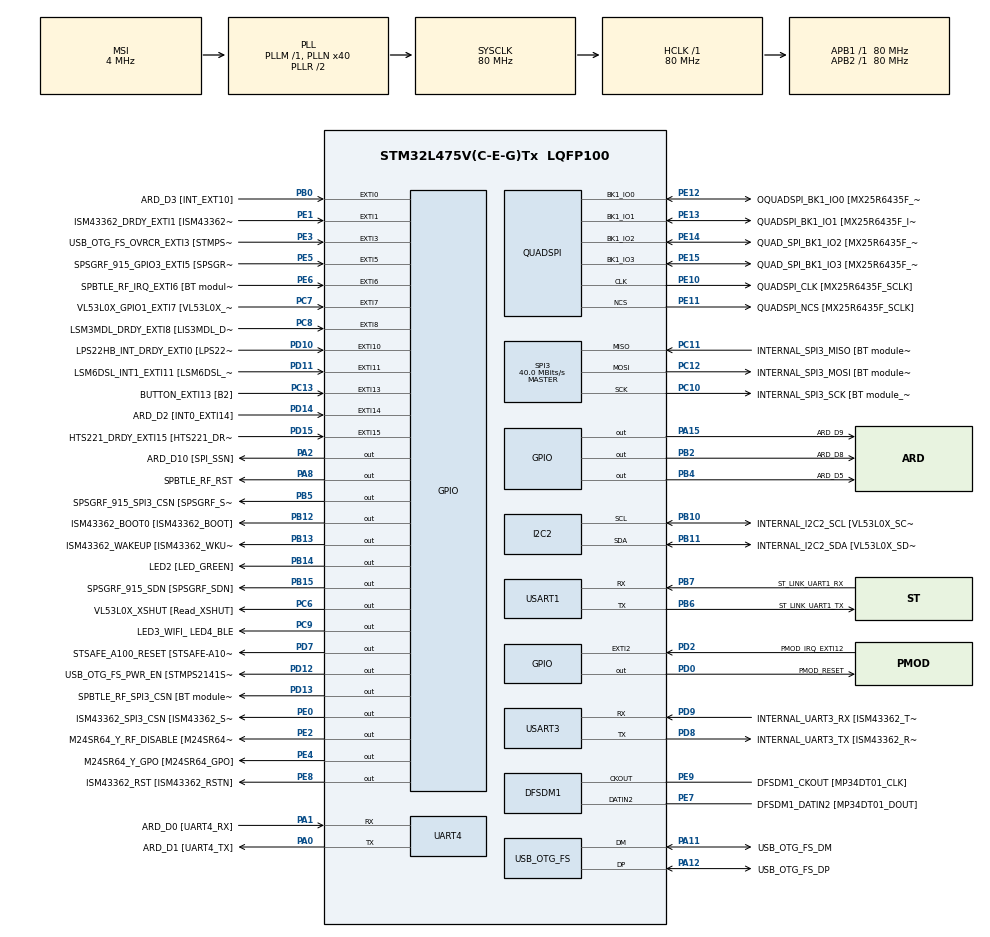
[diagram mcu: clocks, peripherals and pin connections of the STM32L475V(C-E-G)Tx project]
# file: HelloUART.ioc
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PD12.GPIO_Label=USB_OTG_FS_PWR_EN [STMPS2141STR_EN]
SPI3.Direction=SPI_DIRECTION_2LINES
SPI3.VirtualType=VM_MASTER
QUADSPI.ClockPrescaler=2
PB10.Mode=I2C
PC12.Signal=SPI3_MOSI
PB14.GPIO_Label=LED2 [LED_GREEN]
PC6.GPIO_Label=VL53L0X_XSHUT [Read_XSHUT]
PA6.GPIO_Label=ARD_D12 [SPI1_MISO]
PB6.GPIO_Label=ST_LINK_UART1_TX
PA15\ (JTDI).Signal=GPIO_Output
PC15-OSC32_OUT\ (PC15).Mode=LSE-External-Oscillator
PB13.Signal=GPIO_Output
PD6.GPIO_Label=PMOD_UART2_RX
PE6.GPIO_Label=SPBTLE_RF_IRQ_EXTI6 [BT module_SPI_IRQ]
RCC.SYSCLKSource=RCC_SYSCLKSOURCE_PLLCLK
PC14-OSC32_IN\ (PC14).Mode=LSE-External-Oscillator
SH.ADCx_IN16.0=ADC1_IN16
USART3.VirtualMode-Asynchronous=VM_ASYNC
PA14\ (JTCK-SWCLK).Signal=SYS_JTCK-SWCLK
PD4.Signal=USART2_RTS
RCC.APB2TimFreq_Value=80000000
PB6.Signal=USART1_TX
PC7.Signal=GPXTI7
PB6.Mode=Asynchronous
PC3.Signal=ADCx_IN4
PD0.Signal=GPIO_Output
PD8.Signal=USART3_TX
PE5.Signal=GPXTI5
PE1.Signal=GPXTI1
QUADSPI.FlashSize=23
NVIC.EXTI15_10_IRQn=true\:0\:0\:false\:false\:true\:true\:true
PB2.Signal=GPIO_Output
PD1.GPIO_Label=PMOD_SPI2_SCK
PB12.GPIO_Label=ISM43362_BOOT0 [ISM43362_BOOT]
PC4.GPIO_Label=ARD_A1 [ADC]
PE9.Signal=S_CKOUTDFSDM1
PB1.GPIO_Label=ARD_D6 [ADC1_IN6]
PE4.GPIO_Label=M24SR64_Y_GPO [M24SR64_GPO]
PA0.Mode=Asynchronous
PE2.Signal=GPIO_Output
PA8.Signal=GPIO_Output
PE13.Mode=Single Bank
PE10.Signal=QUADSPI_CLK
PA0.Signal=UART4_TX
Mcu.Package=LQFP100
PB9.Signal=I2C1_SDA
PB1.Signal=ADCx_IN16
SPI3.Mode=SPI_MODE_MASTER
SH.ADCx_IN14.0=ADC1_IN14
PD12.Signal=GPIO_Output
PA10.Signal=USB_OTG_FS_ID
PE12.GPIO_Label=OQUADSPI_BK1_IO0 [MX25R6435F_IO0]
PC11.Mode=Full_Duplex_Master
SH.ADCx_IN9.0=ADC1_IN9
RCC.APB1TimFreq_Value=80000000
PA13\ (JTMS-SWDIO).Signal=SYS_JTMS-SWDIO
PE10.GPIO_Label=QUADSPI_CLK [MX25R6435F_SCLK]
PA4.GPIO_Label=ARD_D7
PD15.Signal=GPXTI15
PE12.Mode=Single Bank
PD9.GPIO_Label=INTERNAL_UART3_RX [ISM43362_TX]
PA9.GPIO_Label=USB_OTG_FS_VBUS [STMPS2141STR_OUT]
PC13.Signal=GPXTI13
PD3.Signal=USART2_CTS
PC6.Signal=GPIO_Output
PE10.Mode=Single Bank
PC2.Signal=ADCx_IN3
PB11.GPIO_Label=INTERNAL_I2C2_SDA [VL53L0X_SDA]
PD7.Signal=GPIO_Output
PD1.Signal=SPI2_SCK
PA11.GPIO_Label=USB_OTG_FS_DM
PC0.Signal=ADCx_IN1
PD10.Signal=GPXTI10
PB8.GPIO_Label=ARD_D15 [I2C1_SCL]
PA8.GPIO_Label=SPBTLE_RF_RST
PB11.Mode=I2C
PE8.GPIO_Label=ISM43362_RST [ISM43362_RSTN]
PA9.Signal=USB_OTG_FS_VBUS
PE9.GPIO_Label=DFSDM1_CKOUT [MP34DT01_CLK]
PD8.Mode=Asynchronous
PB10.Signal=I2C2_SCL
PB14.Signal=GPIO_Output
PA5.Signal=SPI1_SCK
PC12.Mode=Full_Duplex_Master
PE1.GPIO_Label=ISM43362_DRDY_EXTI1 [ISM43362_DATARDY]
PA1.Mode=Asynchronous
PE14.Signal=QUADSPI_BK1_IO2
PE15.Signal=QUADSPI_BK1_IO3
PB15.GPIO_Label=SPSGRF_915_SDN [SPSGRF_SDN]
PE8.Signal=GPIO_Output
PA1.GPIO_Label=ARD_D0 [UART4_RX]
SH.ADCx_IN4.0=ADC1_IN4
QUADSPI.FifoThreshold=4
PC7.GPIO_Label=VL53L0X_GPIO1_EXTI7 [VL53L0X_GPIO1]
PA13\ (JTMS-SWDIO).Mode=Serial_Wire
PA4.Signal=ADCx_IN9
PB5.Signal=GPIO_Output
PE13.GPIO_Label=QUADSPI_BK1_IO1 [MX25R6435F_IO1]
PA5.GPIO_Label=ARD_D13 [SPI1_SCK]
PD11.Signal=GPXTI11
PE5.GPIO_Label=SPSGRF_915_GPIO3_EXTI5 [SPSGRF_GPIO_3]
PC12.GPIO_Label=INTERNAL_SPI3_MOSI [BT module_SPI_MOSI] [ISM43362_MOSI]
PA11.Signal=USB_OTG_FS_DM
ProjectManager.HeapSize=0x200
NVIC.PriorityGroup=NVIC_PRIORITYGROUP_4
PE3.Signal=GPXTI3
PC3.GPIO_Label=ARD_A2 [ADC]
PB4\ (NJTRST).GPIO_Label=ARD_D5
PD2.Signal=GPXTI2
PB0.Signal=GPXTI0
PC1.Signal=ADCx_IN2
PD2.GPIO_Label=PMOD_IRQ_EXTI12
PE15.Mode=Single Bank
Mcu.Family=STM32L4
RCC.CortexFreq_Value=80000000
PE11.GPIO_Label=QUADSPI_NCS [MX25R6435F_SCLK]
SH.ADCx_IN2.0=ADC1_IN2
PC10.Signal=SPI3_SCK
PA0.GPIO_Label=ARD_D1 [UART4_TX]
PC0.GPIO_Label=ARD_A5 [ADC]
PD0.GPIO_Label=PMOD_RESET
PA11.Mode=Device_Only
PB0.GPIO_Label=ARD_D3 [INT_EXT10]
PC13.GPIO_Label=BUTTON_EXTI13 [B2]
PB13.GPIO_Label=ISM43362_WAKEUP [ISM43362_WKUP]
PB11.Signal=I2C2_SDA
PB15.Signal=GPIO_Output
PD9.Mode=Asynchronous
ProjectManager.StackSize=0x400
PB3\ (JTDO-TRACESWO).Signal=SYS_JTDO-SWO
PD13.Signal=GPIO_Output
PA12.Signal=USB_OTG_FS_DP
PE11.Mode=Single Bank
PD11.GPIO_Label=LSM6DSL_INT1_EXTI11 [LSM6DSL_INT1]
RCC.HCLKFreq_Value=80000000
SH.ADCx_IN3.0=ADC1_IN3
PB5.PinState=GPIO_PIN_SET
RCC.AHBFreq_Value=80000000
RCC.HSE_VALUE=8000000
PE13.Signal=QUADSPI_BK1_IO1
PC11.GPIO_Label=INTERNAL_SPI3_MISO [BT module_SPI_MISO] [ISM43362_MISO]
PA10.GPIO_Label=USB_OTG_FS_ID
PB7.Signal=USART1_RX
PE4.Signal=GPIO_Output
QUADSPI.SampleShifting=QSPI_SAMPLE_SHIFTING_HALFCYCLE
PD7.GPIO_Label=STSAFE_A100_RESET [STSAFE-A100_RESET]
PB7.GPIO_Label=ST_LINK_UART1_RX
PD13.GPIO_Label=SPBTLE_RF_SPI3_CSN [BT module_SPI_CS]
PA6.Signal=SPI1_MISO
PD5.GPIO_Label=PMOD_UART2_TX
PA2.GPIO_Label=ARD_D10 [SPI_SSN]
USB_OTG_FS.VirtualMode=Device_Only
PE0.GPIO_Label=ISM43362_SPI3_CSN [ISM43362_SSN]
SH.ADCx_IN1.0=ADC1_IN1
PB5.GPIO_Label=SPSGRF_915_SPI3_CSN [SPSGRF_SPI_CS]
PC5.Signal=ADCx_IN14
PD3.GPIO_Label=PMOD_UART2_CTS
PE7.Signal=S_DATAIN2DFSDM1
PD6.Signal=USART2_RX
PE2.GPIO_Label=M24SR64_Y_RF_DISABLE [M24SR64_RFDIS]
PC2.GPIO_Label=ARD_A3 [ADC]
RCC.PLLSAI1N=24
PA3.Signal=S_TIM2_CH4
RCC.MSI_VALUE=4000000
PA14\ (JTCK-SWCLK).Mode=Serial_Wire
SH.ADCx_IN13.0=ADC1_IN13
PD15.GPIO_Label=HTS221_DRDY_EXTI15 [HTS221_DRDY]
PB9.GPIO_Label=ARD_D14 [I2C1_SDA]
PC10.GPIO_Label=INTERNAL_SPI3_SCK [BT module_SPI_SCLK] [ISM43362_SCK]
PC9.GPIO_Label=LED3_WIFI_ LED4_BLE
PC11.Signal=SPI3_MISO
PC8.Signal=GPXTI8
PC4.Signal=ADCx_IN13
PC10.Mode=Full_Duplex_Master
SH.S_DATAIN2DFSDM1.0=DFSDM1_DATIN2,PDM_SPI_Input_from_ch12_and_Internal_Clock
PE14.GPIO_Label=QUAD_SPI_BK1_IO2 [MX25R6435F_IO2]
PC15-OSC32_OUT\ (PC15).Signal=RCC_OSC32_OUT
PD9.Signal=USART3_RX
PD5.Signal=USART2_TX
PA14\ (JTCK-SWCLK).GPIO_Label=SYS_JTCK_SWCLK
PB3\ (JTDO-TRACESWO).GPIO_Label=SYS_JTD0_SWO
PA12.GPIO_Label=USB_OTG_FS_DP
PD8.GPIO_Label=INTERNAL_UART3_TX [ISM43362_RX]
PC8.GPIO_Label=LSM3MDL_DRDY_EXTI8 [LIS3MDL_DRDY]
USART1.VirtualMode-Asynchronous=VM_ASYNC
PE0.PinState=GPIO_PIN_SET
PE15.GPIO_Label=QUAD_SPI_BK1_IO3 [MX25R6435F_IO3]
ProjectManager.TargetToolchain=STM32CubeIDE
PB10.GPIO_Label=INTERNAL_I2C2_SCL [VL53L0X_SCL]
RCC.USBFreq_Value=48000000
PD10.GPIO_Label=LPS22HB_INT_DRDY_EXTI0 [LPS22HB_INT_DRDY] 
PE11.Signal=QUADSPI_NCS
PA1.Signal=UART4_RX
board=B-L475E-IOT01A1
RCC.VCOOutputFreq_Value=160000000
RCC.APB2Freq_Value=80000000
SPI3.CalculateBaudRate=40.0 MBits/s
PA13\ (JTMS-SWDIO).GPIO_Label=SYS_JTMS_SWDIO
PD4.GPIO_Label=PMOD_UART2_RTS
PE14.Mode=Single Bank
SH.S_CKOUTDFSDM1.0=DFSDM1_CKOUT,CKOUT
SH.S_CKOUTDFSDM1.1=DFSDM1_CKOUT,PDM_SPI_Input_from_ch12_and_Internal_Clock
RCC.ADCFreq_Value=48000000
PC1.GPIO_Label=ARD_A4 [ADC]
PD14.GPIO_Label=ARD_D2 [INT0_EXTI14]
PE6.Signal=GPXTI6
PA15\ (JTDI).GPIO_Label=ARD_D9
Mcu.Name=STM32L475V(C-E-G)Tx
PE0.Signal=GPIO_Output
PE7.GPIO_Label=DFSDM1_DATIN2 [MP34DT01_DOUT]
PE12.Signal=QUADSPI_BK1_IO0
PA2.Signal=GPIO_Output
PD14.Signal=GPXTI14
RCC.SYSCLKFreq_VALUE=80000000
PA7.GPIO_Label=ARD_D11 [SPI1_MOSI]
PA12.Mode=Device_Only
PC13.GPIO_ModeDefaultEXTI=GPIO_MODE_IT_FALLING
PC5.GPIO_Label=ARD_A0 [ADC]
PC14-OSC32_IN\ (PC14).Signal=RCC_OSC32_IN
PB7.Mode=Asynchronous
NVIC.EXTI9_5_IRQn=true\:0\:0\:false\:false\:true\:true\:true
PB2.GPIO_Label=ARD_D8
SH.S_TIM2_CH4.0=TIM2_CH4
RCC.HSI_VALUE=16000000
RCC.PLLN=40
PB8.Signal=I2C1_SCL
PE3.GPIO_Label=USB_OTG_FS_OVRCR_EXTI3 [STMPS2141STR_FAULT]
PC9.Signal=GPIO_Output
PD13.PinState=GPIO_PIN_SET
RCC.APB1Freq_Value=80000000
PB12.Signal=GPIO_Output
PA3.GPIO_Label=ARD_D4
PA7.Signal=SPI1_MOSI
PB4\ (NJTRST).Signal=GPIO_Output

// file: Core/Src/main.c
/* USER CODE BEGIN Header */
/**
  ******************************************************************************
  * @file           : main.c
  * @brief          : Main program body
  ******************************************************************************
  * @attention
  *
  * <h2><center>&copy; Copyright (c) 2021 STMicroelectronics.
  * All rights reserved.</center></h2>
  *
  * This software component is licensed by ST under BSD 3-Clause license,
  * the "License"; You may not use this file except in compliance with the
  * License. You may obtain a copy of the License at:
  *                        opensource.org/licenses/BSD-3-Clause
  *
  ******************************************************************************
  */
/* USER CODE END Header */
#include "main.h"

DFSDM_Channel_HandleTypeDef hdfsdm1_channel1;

I2C_HandleTypeDef hi2c2;

QSPI_HandleTypeDef hqspi;

SPI_HandleTypeDef hspi3;

UART_HandleTypeDef huart4;
UART_HandleTypeDef huart1;
UART_HandleTypeDef huart3;

PCD_HandleTypeDef hpcd_USB_OTG_FS;

void SystemClock_Config(void);
static void MX_GPIO_Init(void);
static void MX_DFSDM1_Init(void);
static void MX_I2C2_Init(void);
static void MX_QUADSPI_Init(void);
static void MX_SPI3_Init(void);
static void MX_USART1_UART_Init(void);
static void MX_USART3_UART_Init(void);
static void MX_USB_OTG_FS_PCD_Init(void);
static void MX_UART4_Init(void);

int main(void)
{

  /* MCU Configuration--------------------------------------------------------*/

  /* Reset of all peripherals, Initializes the Flash interface and the Systick. */
  HAL_Init();

  /* Configure the system clock */
  SystemClock_Config();

  /* Initialize all configured peripherals */
  MX_GPIO_Init();
  MX_DFSDM1_Init();
  MX_I2C2_Init();
  MX_QUADSPI_Init();
  MX_SPI3_Init();
  MX_USART1_UART_Init();
  MX_USART3_UART_Init();
  MX_USB_OTG_FS_PCD_Init();
  MX_UART4_Init();

  /* Infinite loop */
  /* USER CODE BEGIN WHILE */
  int index = 0;
  uint8_t uart1Count = 0;
  uint8_t uart4Count = 0;

  while (1)
  {

	  /**
	   * every 5 seconds print from UART1, use modulus operator to determine 5 second intervals
	   */
	  if (index % 5 == 0) {
		  char uart1Message[15];
		  sprintf(uart1Message, "UART1: %d\r\n", uart1Count);
		  HAL_UART_Transmit(&huart1, (uint8_t *) &uart1Message, strlen(uart1Message), HAL_MAX_DELAY);
		  uart1Count++;
	  }

	  /**
	   * every 10 seconds print from UART4, use modulus operator to determine 10 second intervals
	   */
	  if (index % 10 == 0) {
		  char uart4Message[15];
		  sprintf(uart4Message, "UART4: %d\r\n", uart4Count);
		  HAL_UART_Transmit(&huart1, (uint8_t *) &uart4Message, strlen(uart4Message), HAL_MAX_DELAY);
		  uart4Count++;
	  }

	  index++;
	  HAL_Delay(1000);
    /* USER CODE END WHILE */

  }
}

void SystemClock_Config(void)
{
  RCC_OscInitTypeDef RCC_OscInitStruct = {0};
  RCC_ClkInitTypeDef RCC_ClkInitStruct = {0};
  RCC_PeriphCLKInitTypeDef PeriphClkInit = {0};

  /** Configure LSE Drive Capability
  */
  HAL_PWR_EnableBkUpAccess();
  __HAL_RCC_LSEDRIVE_CONFIG(RCC_LSEDRIVE_LOW);
  /** Initializes the RCC Oscillators according to the specified parameters
  * in the RCC_OscInitTypeDef structure.
  */
  RCC_OscInitStruct.OscillatorType = RCC_OSCILLATORTYPE_LSE|RCC_OSCILLATORTYPE_MSI;
  RCC_OscInitStruct.LSEState = RCC_LSE_ON;
  RCC_OscInitStruct.MSIState = RCC_MSI_ON;
  RCC_OscInitStruct.MSICalibrationValue = 0;
  RCC_OscInitStruct.MSIClockRange = RCC_MSIRANGE_6;
  RCC_OscInitStruct.PLL.PLLState = RCC_PLL_ON;
  RCC_OscInitStruct.PLL.PLLSource = RCC_PLLSOURCE_MSI;
  RCC_OscInitStruct.PLL.PLLM = 1;
  RCC_OscInitStruct.PLL.PLLN = 40;
  RCC_OscInitStruct.PLL.PLLP = RCC_PLLP_DIV7;
  RCC_OscInitStruct.PLL.PLLQ = RCC_PLLQ_DIV2;
  RCC_OscInitStruct.PLL.PLLR = RCC_PLLR_DIV2;
  if (HAL_RCC_OscConfig(&RCC_OscInitStruct) != HAL_OK)
  {
    Error_Handler();
  }
  /** Initializes the CPU, AHB and APB buses clocks
  */
  RCC_ClkInitStruct.ClockType = RCC_CLOCKTYPE_HCLK|RCC_CLOCKTYPE_SYSCLK
                              |RCC_CLOCKTYPE_PCLK1|RCC_CLOCKTYPE_PCLK2;
  RCC_ClkInitStruct.SYSCLKSource = RCC_SYSCLKSOURCE_PLLCLK;
  RCC_ClkInitStruct.AHBCLKDivider = RCC_SYSCLK_DIV1;
  RCC_ClkInitStruct.APB1CLKDivider = RCC_HCLK_DIV1;
  RCC_ClkInitStruct.APB2CLKDivider = RCC_HCLK_DIV1;

  if (HAL_RCC_ClockConfig(&RCC_ClkInitStruct, FLASH_LATENCY_4) != HAL_OK)
  {
    Error_Handler();
  }
  PeriphClkInit.PeriphClockSelection = RCC_PERIPHCLK_USART1|RCC_PERIPHCLK_USART3
                              |RCC_PERIPHCLK_UART4|RCC_PERIPHCLK_I2C2
                              |RCC_PERIPHCLK_DFSDM1|RCC_PERIPHCLK_USB;
  PeriphClkInit.Usart1ClockSelection = RCC_USART1CLKSOURCE_PCLK2;
  PeriphClkInit.Usart3ClockSelection = RCC_USART3CLKSOURCE_PCLK1;
  PeriphClkInit.Uart4ClockSelection = RCC_UART4CLKSOURCE_PCLK1;
  PeriphClkInit.I2c2ClockSelection = RCC_I2C2CLKSOURCE_PCLK1;
  PeriphClkInit.Dfsdm1ClockSelection = RCC_DFSDM1CLKSOURCE_PCLK;
  PeriphClkInit.UsbClockSelection = RCC_USBCLKSOURCE_PLLSAI1;
  PeriphClkInit.PLLSAI1.PLLSAI1Source = RCC_PLLSOURCE_MSI;
  PeriphClkInit.PLLSAI1.PLLSAI1M = 1;
  PeriphClkInit.PLLSAI1.PLLSAI1N = 24;
  PeriphClkInit.PLLSAI1.PLLSAI1P = RCC_PLLP_DIV7;
  PeriphClkInit.PLLSAI1.PLLSAI1Q = RCC_PLLQ_DIV2;
  PeriphClkInit.PLLSAI1.PLLSAI1R = RCC_PLLR_DIV2;
  PeriphClkInit.PLLSAI1.PLLSAI1ClockOut = RCC_PLLSAI1_48M2CLK;
  if (HAL_RCCEx_PeriphCLKConfig(&PeriphClkInit) != HAL_OK)
  {
    Error_Handler();
  }
  /** Configure the main internal regulator output voltage
  */
  if (HAL_PWREx_ControlVoltageScaling(PWR_REGULATOR_VOLTAGE_SCALE1) != HAL_OK)
  {
    Error_Handler();
  }
  /** Enable MSI Auto calibration
  */
  HAL_RCCEx_EnableMSIPLLMode();
}

static void MX_DFSDM1_Init(void)
{

  hdfsdm1_channel1.Instance = DFSDM1_Channel1;
  hdfsdm1_channel1.Init.OutputClock.Activation = ENABLE;
  hdfsdm1_channel1.Init.OutputClock.Selection = DFSDM_CHANNEL_OUTPUT_CLOCK_SYSTEM;
  hdfsdm1_channel1.Init.OutputClock.Divider = 2;
  hdfsdm1_channel1.Init.Input.Multiplexer = DFSDM_CHANNEL_EXTERNAL_INPUTS;
  hdfsdm1_channel1.Init.Input.DataPacking = DFSDM_CHANNEL_STANDARD_MODE;
  hdfsdm1_channel1.Init.Input.Pins = DFSDM_CHANNEL_FOLLOWING_CHANNEL_PINS;
  hdfsdm1_channel1.Init.SerialInterface.Type = DFSDM_CHANNEL_SPI_RISING;
  hdfsdm1_channel1.Init.SerialInterface.SpiClock = DFSDM_CHANNEL_SPI_CLOCK_INTERNAL;
  hdfsdm1_channel1.Init.Awd.FilterOrder = DFSDM_CHANNEL_FASTSINC_ORDER;
  hdfsdm1_channel1.Init.Awd.Oversampling = 1;
  hdfsdm1_channel1.Init.Offset = 0;
  hdfsdm1_channel1.Init.RightBitShift = 0x00;
  if (HAL_DFSDM_ChannelInit(&hdfsdm1_channel1) != HAL_OK)
  {
    Error_Handler();
  }

}

static void MX_I2C2_Init(void)
{

  hi2c2.Instance = I2C2;
  hi2c2.Init.Timing = 0x00000E14;
  hi2c2.Init.OwnAddress1 = 0;
  hi2c2.Init.AddressingMode = I2C_ADDRESSINGMODE_7BIT;
  hi2c2.Init.DualAddressMode = I2C_DUALADDRESS_DISABLE;
  hi2c2.Init.OwnAddress2 = 0;
  hi2c2.Init.OwnAddress2Masks = I2C_OA2_NOMASK;
  hi2c2.Init.GeneralCallMode = I2C_GENERALCALL_DISABLE;
  hi2c2.Init.NoStretchMode = I2C_NOSTRETCH_DISABLE;
  if (HAL_I2C_Init(&hi2c2) != HAL_OK)
  {
    Error_Handler();
  }
  /** Configure Analogue filter
  */
  if (HAL_I2CEx_ConfigAnalogFilter(&hi2c2, I2C_ANALOGFILTER_ENABLE) != HAL_OK)
  {
    Error_Handler();
  }
  /** Configure Digital filter
  */
  if (HAL_I2CEx_ConfigDigitalFilter(&hi2c2, 0) != HAL_OK)
  {
    Error_Handler();
  }

}

static void MX_QUADSPI_Init(void)
{

  /* QUADSPI parameter configuration*/
  hqspi.Instance = QUADSPI;
  hqspi.Init.ClockPrescaler = 2;
  hqspi.Init.FifoThreshold = 4;
  hqspi.Init.SampleShifting = QSPI_SAMPLE_SHIFTING_HALFCYCLE;
  hqspi.Init.FlashSize = 23;
  hqspi.Init.ChipSelectHighTime = QSPI_CS_HIGH_TIME_1_CYCLE;
  hqspi.Init.ClockMode = QSPI_CLOCK_MODE_0;
  if (HAL_QSPI_Init(&hqspi) != HAL_OK)
  {
    Error_Handler();
  }

}

static void MX_SPI3_Init(void)
{

  /* SPI3 parameter configuration*/
  hspi3.Instance = SPI3;
  hspi3.Init.Mode = SPI_MODE_MASTER;
  hspi3.Init.Direction = SPI_DIRECTION_2LINES;
  hspi3.Init.DataSize = SPI_DATASIZE_4BIT;
  hspi3.Init.CLKPolarity = SPI_POLARITY_LOW;
  hspi3.Init.CLKPhase = SPI_PHASE_1EDGE;
  hspi3.Init.NSS = SPI_NSS_SOFT;
  hspi3.Init.BaudRatePrescaler = SPI_BAUDRATEPRESCALER_2;
  hspi3.Init.FirstBit = SPI_FIRSTBIT_MSB;
  hspi3.Init.TIMode = SPI_TIMODE_DISABLE;
  hspi3.Init.CRCCalculation = SPI_CRCCALCULATION_DISABLE;
  hspi3.Init.CRCPolynomial = 7;
  hspi3.Init.CRCLength = SPI_CRC_LENGTH_DATASIZE;
  hspi3.Init.NSSPMode = SPI_NSS_PULSE_ENABLE;
  if (HAL_SPI_Init(&hspi3) != HAL_OK)
  {
    Error_Handler();
  }

}

static void MX_UART4_Init(void)
{

  huart4.Instance = UART4;
  huart4.Init.BaudRate = 115200;
  huart4.Init.WordLength = UART_WORDLENGTH_8B;
  huart4.Init.StopBits = UART_STOPBITS_1;
  huart4.Init.Parity = UART_PARITY_NONE;
  huart4.Init.Mode = UART_MODE_TX_RX;
  huart4.Init.HwFlowCtl = UART_HWCONTROL_NONE;
  huart4.Init.OverSampling = UART_OVERSAMPLING_16;
  huart4.Init.OneBitSampling = UART_ONE_BIT_SAMPLE_DISABLE;
  huart4.AdvancedInit.AdvFeatureInit = UART_ADVFEATURE_NO_INIT;
  if (HAL_UART_Init(&huart4) != HAL_OK)
  {
    Error_Handler();
  }

}

static void MX_USART1_UART_Init(void)
{

  huart1.Instance = USART1;
  huart1.Init.BaudRate = 115200;
  huart1.Init.WordLength = UART_WORDLENGTH_8B;
  huart1.Init.StopBits = UART_STOPBITS_1;
  huart1.Init.Parity = UART_PARITY_NONE;
  huart1.Init.Mode = UART_MODE_TX_RX;
  huart1.Init.HwFlowCtl = UART_HWCONTROL_NONE;
  huart1.Init.OverSampling = UART_OVERSAMPLING_16;
  huart1.Init.OneBitSampling = UART_ONE_BIT_SAMPLE_DISABLE;
  huart1.AdvancedInit.AdvFeatureInit = UART_ADVFEATURE_NO_INIT;
  if (HAL_UART_Init(&huart1) != HAL_OK)
  {
    Error_Handler();
  }

}

static void MX_USART3_UART_Init(void)
{

  huart3.Instance = USART3;
  huart3.Init.BaudRate = 115200;
  huart3.Init.WordLength = UART_WORDLENGTH_8B;
  huart3.Init.StopBits = UART_STOPBITS_1;
  huart3.Init.Parity = UART_PARITY_NONE;
  huart3.Init.Mode = UART_MODE_TX_RX;
  huart3.Init.HwFlowCtl = UART_HWCONTROL_NONE;
  huart3.Init.OverSampling = UART_OVERSAMPLING_16;
  huart3.Init.OneBitSampling = UART_ONE_BIT_SAMPLE_DISABLE;
  huart3.AdvancedInit.AdvFeatureInit = UART_ADVFEATURE_NO_INIT;
  if (HAL_UART_Init(&huart3) != HAL_OK)
  {
    Error_Handler();
  }

}

static void MX_USB_OTG_FS_PCD_Init(void)
{

  hpcd_USB_OTG_FS.Instance = USB_OTG_FS;
  hpcd_USB_OTG_FS.Init.dev_endpoints = 6;
  hpcd_USB_OTG_FS.Init.speed = PCD_SPEED_FULL;
  hpcd_USB_OTG_FS.Init.phy_itface = PCD_PHY_EMBEDDED;
  hpcd_USB_OTG_FS.Init.Sof_enable = DISABLE;
  hpcd_USB_OTG_FS.Init.low_power_enable = DISABLE;
  hpcd_USB_OTG_FS.Init.lpm_enable = DISABLE;
  hpcd_USB_OTG_FS.Init.battery_charging_enable = DISABLE;
  hpcd_USB_OTG_FS.Init.use_dedicated_ep1 = DISABLE;
  hpcd_USB_OTG_FS.Init.vbus_sensing_enable = DISABLE;
  if (HAL_PCD_Init(&hpcd_USB_OTG_FS) != HAL_OK)
  {
    Error_Handler();
  }

}

static void MX_GPIO_Init(void)
{
  GPIO_InitTypeDef GPIO_InitStruct = {0};

  /* GPIO Ports Clock Enable */
  __HAL_RCC_GPIOE_CLK_ENABLE();
  __HAL_RCC_GPIOC_CLK_ENABLE();
  __HAL_RCC_GPIOA_CLK_ENABLE();
  __HAL_RCC_GPIOB_CLK_ENABLE();
  __HAL_RCC_GPIOD_CLK_ENABLE();

  /*Configure GPIO pin Output Level */
  HAL_GPIO_WritePin(GPIOE, M24SR64_Y_RF_DISABLE_Pin|M24SR64_Y_GPO_Pin|ISM43362_RST_Pin, GPIO_PIN_RESET);

  /*Configure GPIO pin Output Level */
  HAL_GPIO_WritePin(GPIOA, ARD_D10_Pin|SPBTLE_RF_RST_Pin|ARD_D9_Pin, GPIO_PIN_RESET);

  /*Configure GPIO pin Output Level */
  HAL_GPIO_WritePin(GPIOB, ARD_D8_Pin|ISM43362_BOOT0_Pin|ISM43362_WAKEUP_Pin|LED2_Pin
                          |SPSGRF_915_SDN_Pin|ARD_D5_Pin, GPIO_PIN_RESET);

  /*Configure GPIO pin Output Level */
  HAL_GPIO_WritePin(GPIOD, USB_OTG_FS_PWR_EN_Pin|PMOD_RESET_Pin|STSAFE_A100_RESET_Pin, GPIO_PIN_RESET);

  /*Configure GPIO pin Output Level */
  HAL_GPIO_WritePin(SPBTLE_RF_SPI3_CSN_GPIO_Port, SPBTLE_RF_SPI3_CSN_Pin, GPIO_PIN_SET);

  /*Configure GPIO pin Output Level */
  HAL_GPIO_WritePin(GPIOC, VL53L0X_XSHUT_Pin|LED3_WIFI__LED4_BLE_Pin, GPIO_PIN_RESET);

  /*Configure GPIO pin Output Level */
  HAL_GPIO_WritePin(SPSGRF_915_SPI3_CSN_GPIO_Port, SPSGRF_915_SPI3_CSN_Pin, GPIO_PIN_SET);

  /*Configure GPIO pin Output Level */
  HAL_GPIO_WritePin(ISM43362_SPI3_CSN_GPIO_Port, ISM43362_SPI3_CSN_Pin, GPIO_PIN_SET);

  /*Configure GPIO pins : M24SR64_Y_RF_DISABLE_Pin M24SR64_Y_GPO_Pin ISM43362_RST_Pin ISM43362_SPI3_CSN_Pin */
  GPIO_InitStruct.Pin = M24SR64_Y_RF_DISABLE_Pin|M24SR64_Y_GPO_Pin|ISM43362_RST_Pin|ISM43362_SPI3_CSN_Pin;
  GPIO_InitStruct.Mode = GPIO_MODE_OUTPUT_PP;
  GPIO_InitStruct.Pull = GPIO_NOPULL;
  GPIO_InitStruct.Speed = GPIO_SPEED_FREQ_LOW;
  HAL_GPIO_Init(GPIOE, &GPIO_InitStruct);

  /*Configure GPIO pins : USB_OTG_FS_OVRCR_EXTI3_Pin SPSGRF_915_GPIO3_EXTI5_Pin SPBTLE_RF_IRQ_EXTI6_Pin ISM43362_DRDY_EXTI1_Pin */
  GPIO_InitStruct.Pin = USB_OTG_FS_OVRCR_EXTI3_Pin|SPSGRF_915_GPIO3_EXTI5_Pin|SPBTLE_RF_IRQ_EXTI6_Pin|ISM43362_DRDY_EXTI1_Pin;
  GPIO_InitStruct.Mode = GPIO_MODE_IT_RISING;
  GPIO_InitStruct.Pull = GPIO_NOPULL;
  HAL_GPIO_Init(GPIOE, &GPIO_InitStruct);

  /*Configure GPIO pin : BUTTON_EXTI13_Pin */
  GPIO_InitStruct.Pin = BUTTON_EXTI13_Pin;
  GPIO_InitStruct.Mode = GPIO_MODE_IT_FALLING;
  GPIO_InitStruct.Pull = GPIO_NOPULL;
  HAL_GPIO_Init(BUTTON_EXTI13_GPIO_Port, &GPIO_InitStruct);

  /*Configure GPIO pins : ARD_A5_Pin ARD_A4_Pin ARD_A3_Pin ARD_A2_Pin
                           ARD_A1_Pin ARD_A0_Pin */
  GPIO_InitStruct.Pin = ARD_A5_Pin|ARD_A4_Pin|ARD_A3_Pin|ARD_A2_Pin
                          |ARD_A1_Pin|ARD_A0_Pin;
  GPIO_InitStruct.Mode = GPIO_MODE_ANALOG_ADC_CONTROL;
  GPIO_InitStruct.Pull = GPIO_NOPULL;
  HAL_GPIO_Init(GPIOC, &GPIO_InitStruct);

  /*Configure GPIO pins : ARD_D10_Pin SPBTLE_RF_RST_Pin ARD_D9_Pin */
  GPIO_InitStruct.Pin = ARD_D10_Pin|SPBTLE_RF_RST_Pin|ARD_D9_Pin;
  GPIO_InitStruct.Mode = GPIO_MODE_OUTPUT_PP;
  GPIO_InitStruct.Pull = GPIO_NOPULL;
  GPIO_InitStruct.Speed = GPIO_SPEED_FREQ_LOW;
  HAL_GPIO_Init(GPIOA, &GPIO_InitStruct);

  /*Configure GPIO pin : ARD_D4_Pin */
  GPIO_InitStruct.Pin = ARD_D4_Pin;
  GPIO_InitStruct.Mode = GPIO_MODE_AF_PP;
  GPIO_InitStruct.Pull = GPIO_NOPULL;
  GPIO_InitStruct.Speed = GPIO_SPEED_FREQ_LOW;
  GPIO_InitStruct.Alternate = GPIO_AF1_TIM2;
  HAL_GPIO_Init(ARD_D4_GPIO_Port, &GPIO_InitStruct);

  /*Configure GPIO pin : ARD_D7_Pin */
  GPIO_InitStruct.Pin = ARD_D7_Pin;
  GPIO_InitStruct.Mode = GPIO_MODE_ANALOG_ADC_CONTROL;
  GPIO_InitStruct.Pull = GPIO_NOPULL;
  HAL_GPIO_Init(ARD_D7_GPIO_Port, &GPIO_InitStruct);

  /*Configure GPIO pins : ARD_D13_Pin ARD_D12_Pin ARD_D11_Pin */
  GPIO_InitStruct.Pin = ARD_D13_Pin|ARD_D12_Pin|ARD_D11_Pin;
  GPIO_InitStruct.Mode = GPIO_MODE_AF_PP;
  GPIO_InitStruct.Pull = GPIO_NOPULL;
  GPIO_InitStruct.Speed = GPIO_SPEED_FREQ_VERY_HIGH;
  GPIO_InitStruct.Alternate = GPIO_AF5_SPI1;
  HAL_GPIO_Init(GPIOA, &GPIO_InitStruct);

  /*Configure GPIO pin : ARD_D3_Pin */
  GPIO_InitStruct.Pin = ARD_D3_Pin;
  GPIO_InitStruct.Mode = GPIO_MODE_IT_RISING;
  GPIO_InitStruct.Pull = GPIO_NOPULL;
  HAL_GPIO_Init(ARD_D3_GPIO_Port, &GPIO_InitStruct);

  /*Configure GPIO pin : ARD_D6_Pin */
  GPIO_InitStruct.Pin = ARD_D6_Pin;
  GPIO_InitStruct.Mode = GPIO_MODE_ANALOG_ADC_CONTROL;
  GPIO_InitStruct.Pull = GPIO_NOPULL;
  HAL_GPIO_Init(ARD_D6_GPIO_Port, &GPIO_InitStruct);

  /*Configure GPIO pins : ARD_D8_Pin ISM43362_BOOT0_Pin ISM43362_WAKEUP_Pin LED2_Pin
                           SPSGRF_915_SDN_Pin ARD_D5_Pin SPSGRF_915_SPI3_CSN_Pin */
  GPIO_InitStruct.Pin = ARD_D8_Pin|ISM43362_BOOT0_Pin|ISM43362_WAKEUP_Pin|LED2_Pin
                          |SPSGRF_915_SDN_Pin|ARD_D5_Pin|SPSGRF_915_SPI3_CSN_Pin;
  GPIO_InitStruct.Mode = GPIO_MODE_OUTPUT_PP;
  GPIO_InitStruct.Pull = GPIO_NOPULL;
  GPIO_InitStruct.Speed = GPIO_SPEED_FREQ_LOW;
  HAL_GPIO_Init(GPIOB, &GPIO_InitStruct);

  /*Configure GPIO pins : LPS22HB_INT_DRDY_EXTI0_Pin LSM6DSL_INT1_EXTI11_Pin ARD_D2_Pin HTS221_DRDY_EXTI15_Pin
                           PMOD_IRQ_EXTI12_Pin */
  GPIO_InitStruct.Pin = LPS22HB_INT_DRDY_EXTI0_Pin|LSM6DSL_INT1_EXTI11_Pin|ARD_D2_Pin|HTS221_DRDY_EXTI15_Pin
                          |PMOD_IRQ_EXTI12_Pin;
  GPIO_InitStruct.Mode = GPIO_MODE_IT_RISING;
  GPIO_InitStruct.Pull = GPIO_NOPULL;
  HAL_GPIO_Init(GPIOD, &GPIO_InitStruct);

  /*Configure GPIO pins : USB_OTG_FS_PWR_EN_Pin SPBTLE_RF_SPI3_CSN_Pin PMOD_RESET_Pin STSAFE_A100_RESET_Pin */
  GPIO_InitStruct.Pin = USB_OTG_FS_PWR_EN_Pin|SPBTLE_RF_SPI3_CSN_Pin|PMOD_RESET_Pin|STSAFE_A100_RESET_Pin;
  GPIO_InitStruct.Mode = GPIO_MODE_OUTPUT_PP;
  GPIO_InitStruct.Pull = GPIO_NOPULL;
  GPIO_InitStruct.Speed = GPIO_SPEED_FREQ_LOW;
  HAL_GPIO_Init(GPIOD, &GPIO_InitStruct);

  /*Configure GPIO pins : VL53L0X_XSHUT_Pin LED3_WIFI__LED4_BLE_Pin */
  GPIO_InitStruct.Pin = VL53L0X_XSHUT_Pin|LED3_WIFI__LED4_BLE_Pin;
  GPIO_InitStruct.Mode = GPIO_MODE_OUTPUT_PP;
  GPIO_InitStruct.Pull = GPIO_NOPULL;
  GPIO_InitStruct.Speed = GPIO_SPEED_FREQ_LOW;
  HAL_GPIO_Init(GPIOC, &GPIO_InitStruct);

  /*Configure GPIO pins : VL53L0X_GPIO1_EXTI7_Pin LSM3MDL_DRDY_EXTI8_Pin */
  GPIO_InitStruct.Pin = VL53L0X_GPIO1_EXTI7_Pin|LSM3MDL_DRDY_EXTI8_Pin;
  GPIO_InitStruct.Mode = GPIO_MODE_IT_RISING;
  GPIO_InitStruct.Pull = GPIO_NOPULL;
  HAL_GPIO_Init(GPIOC, &GPIO_InitStruct);

  /*Configure GPIO pin : PMOD_SPI2_SCK_Pin */
  GPIO_InitStruct.Pin = PMOD_SPI2_SCK_Pin;
  GPIO_InitStruct.Mode = GPIO_MODE_AF_PP;
  GPIO_InitStruct.Pull = GPIO_NOPULL;
  GPIO_InitStruct.Speed = GPIO_SPEED_FREQ_VERY_HIGH;
  GPIO_InitStruct.Alternate = GPIO_AF5_SPI2;
  HAL_GPIO_Init(PMOD_SPI2_SCK_GPIO_Port, &GPIO_InitStruct);

  /*Configure GPIO pins : PMOD_UART2_CTS_Pin PMOD_UART2_RTS_Pin PMOD_UART2_TX_Pin PMOD_UART2_RX_Pin */
  GPIO_InitStruct.Pin = PMOD_UART2_CTS_Pin|PMOD_UART2_RTS_Pin|PMOD_UART2_TX_Pin|PMOD_UART2_RX_Pin;
  GPIO_InitStruct.Mode = GPIO_MODE_AF_PP;
  GPIO_InitStruct.Pull = GPIO_NOPULL;
  GPIO_InitStruct.Speed = GPIO_SPEED_FREQ_VERY_HIGH;
  GPIO_InitStruct.Alternate = GPIO_AF7_USART2;
  HAL_GPIO_Init(GPIOD, &GPIO_InitStruct);

  /*Configure GPIO pins : ARD_D15_Pin ARD_D14_Pin */
  GPIO_InitStruct.Pin = ARD_D15_Pin|ARD_D14_Pin;
  GPIO_InitStruct.Mode = GPIO_MODE_AF_OD;
  GPIO_InitStruct.Pull = GPIO_PULLUP;
  GPIO_InitStruct.Speed = GPIO_SPEED_FREQ_VERY_HIGH;
  GPIO_InitStruct.Alternate = GPIO_AF4_I2C1;
  HAL_GPIO_Init(GPIOB, &GPIO_InitStruct);

  /* EXTI interrupt init*/
  HAL_NVIC_SetPriority(EXTI9_5_IRQn, 0, 0);
  HAL_NVIC_EnableIRQ(EXTI9_5_IRQn);

  HAL_NVIC_SetPriority(EXTI15_10_IRQn, 0, 0);
  HAL_NVIC_EnableIRQ(EXTI15_10_IRQn);

}

void Error_Handler(void)
{
  __disable_irq();
  while (1)
  {
  }
}

/************************ (C) COPYRIGHT STMicroelectronics *****END OF FILE****/
